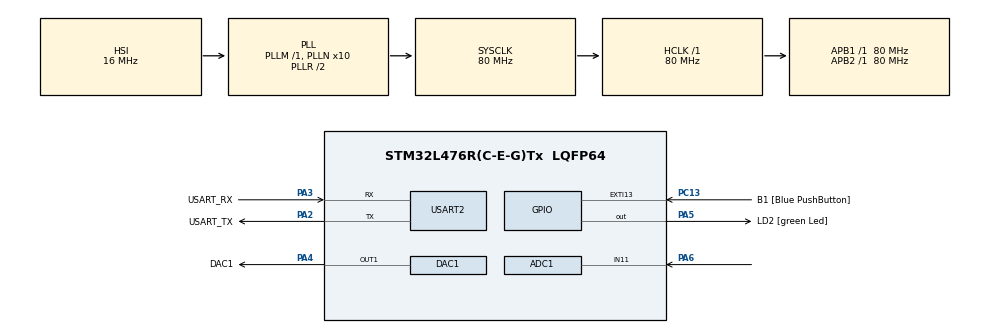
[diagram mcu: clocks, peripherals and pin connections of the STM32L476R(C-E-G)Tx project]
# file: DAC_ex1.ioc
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ADC1.Channel-2\#ChannelRegularConversion=ADC_CHANNEL_11
ADC1.ExternalTrigConv=ADC_SOFTWARE_START
ADC1.NbrOfConversionFlag=1
ADC1.OffsetNumber-2\#ChannelRegularConversion=ADC_OFFSET_NONE
ADC1.Rank-2\#ChannelRegularConversion=1
ADC1.SamplingTime-2\#ChannelRegularConversion=ADC_SAMPLETIME_92CYCLES_5
ADC1.master=1
DAC1.DAC_Trigger-DAC_OUT1=DAC_TRIGGER_SOFTWARE
Mcu.Family=STM32L4
Mcu.Name=STM32L476R(C-E-G)Tx
Mcu.Package=LQFP64
Mcu.UserConstants=TIM_PRESCALER,79;TIM_PERIOD,999
NVIC.PriorityGroup=NVIC_PRIORITYGROUP_4
NVIC.TIM6_DAC_IRQn=true\:0\:0\:false\:false\:true\:true\:true
PA13\ (JTMS-SWDIO).GPIO_Label=TMS
PA13\ (JTMS-SWDIO).Mode=Serial_Wire
PA13\ (JTMS-SWDIO).Signal=SYS_JTMS-SWDIO
PA14\ (JTCK-SWCLK).GPIO_Label=TCK
PA14\ (JTCK-SWCLK).Mode=Serial_Wire
PA14\ (JTCK-SWCLK).Signal=SYS_JTCK-SWCLK
PA2.GPIO_Label=USART_TX
PA2.GPIO_Mode=GPIO_MODE_AF_PP
PA2.GPIO_PuPd=GPIO_NOPULL
PA2.GPIO_Speed=GPIO_SPEED_FREQ_VERY_HIGH
PA2.Mode=Asynchronous
PA2.Signal=USART2_TX
PA3.GPIO_Label=USART_RX
PA3.GPIO_Mode=GPIO_MODE_AF_PP
PA3.GPIO_PuPd=GPIO_NOPULL
PA3.GPIO_Speed=GPIO_SPEED_FREQ_VERY_HIGH
PA3.Mode=Asynchronous
PA3.Signal=USART2_RX
PA4.GPIO_Label=DAC1
PA4.Signal=COMP_DAC11_group
PA5.GPIO_Label=LD2 [green Led]
PA5.GPIO_ModeDefaultOutputPP=GPIO_MODE_OUTPUT_PP
PA5.GPIO_PuPd=GPIO_NOPULL
PA5.GPIO_Speed=GPIO_SPEED_FREQ_LOW
PA5.Signal=GPIO_Output
PA6.Signal=ADCx_IN11
PB3\ (JTDO-TRACESWO).GPIO_Label=SWO
PB3\ (JTDO-TRACESWO).Signal=SYS_JTDO-SWO
PC13.GPIO_Label=B1 [Blue PushButton]
PC13.GPIO_ModeDefaultEXTI=GPIO_MODE_IT_FALLING
PC13.GPIO_PuPd=GPIO_NOPULL
PC13.Signal=GPXTI13
PC14-OSC32_IN\ (PC14).Mode=LSE-External-Oscillator
PC14-OSC32_IN\ (PC14).Signal=RCC_OSC32_IN
PC15-OSC32_OUT\ (PC15).Mode=LSE-External-Oscillator
PC15-OSC32_OUT\ (PC15).Signal=RCC_OSC32_OUT
PH0-OSC_IN\ (PH0).Signal=RCC_OSC_IN
PH1-OSC_OUT\ (PH1).Signal=RCC_OSC_OUT
ProjectManager.HeapSize=0x200
ProjectManager.StackSize=0x400
ProjectManager.TargetToolchain=STM32CubeIDE
RCC.ADCFreq_Value=64000000
RCC.AHBFreq_Value=80000000
RCC.APB1Freq_Value=80000000
RCC.APB1TimFreq_Value=80000000
RCC.APB2Freq_Value=80000000
RCC.APB2TimFreq_Value=80000000
RCC.CortexFreq_Value=80000000
RCC.HCLKFreq_Value=80000000
RCC.HSE_VALUE=8000000
RCC.HSI_VALUE=16000000
RCC.MSI_VALUE=4000000
RCC.PLLN=10
RCC.PLLSourceVirtual=RCC_PLLSOURCE_HSI
RCC.PREFETCH_ENABLE=1
RCC.SYSCLKFreq_VALUE=80000000
RCC.SYSCLKSource=RCC_SYSCLKSOURCE_PLLCLK
RCC.USBFreq_Value=64000000
RCC.VCOOutputFreq_Value=160000000
SH.ADCx_IN11.0=ADC1_IN11,IN11-Single-Ended
SH.COMP_DAC11_group.0=DAC1_OUT1,DAC_OUT1
TIM6.Period=TIM_PERIOD
TIM6.Prescaler=TIM_PRESCALER
TIM6.TIM_MasterOutputTrigger=TIM_TRGO_UPDATE
USART2.VirtualMode-Asynchronous=VM_ASYNC
VP_TIM6_VS_ClockSourceINT.Mode=Enable_Timer
board=NUCLEO-L476RG

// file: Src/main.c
/* USER CODE BEGIN Header */
/**
 ******************************************************************************
 * @file           : main.c
 * @brief          : Main program body
 ******************************************************************************
 * @attention
 *
 * <h2><center>&copy; Copyright (c) 2019 STMicroelectronics.
 * All rights reserved.</center></h2>
 *
 * This software component is licensed by ST under BSD 3-Clause license,
 * the "License"; You may not use this file except in compliance with the
 * License. You may obtain a copy of the License at:
 *                        opensource.org/licenses/BSD-3-Clause
 *
 ******************************************************************************
 */
/* USER CODE END Header */
#include "main.h"
#include "adc.h"
#include "dac.h"
#include "tim.h"
#include "usart.h"
#include "gpio.h"

void SystemClock_Config(void);

/* USER CODE BEGIN 0 */

uint8_t dac_waveform[] = { 127, 137, 147, 157, 166, 176, 185, 194, 202, 210,
		217, 224, 230, 236, 241, 245, 248, 251, 253, 254, 255, 254, 253, 251,
		248, 245, 241, 236, 230, 224, 217, 210, 202, 194, 185, 176, 166, 157,
		147, 137, 127, 117, 107, 97, 88, 78, 69, 60, 52, 44, 37, 30, 24, 18, 13,
		9, 6, 3, 1, 0, 0, 0, 1, 3, 6, 9, 13, 18, 24, 30, 37, 44, 52, 60, 69, 78,
		88, 97, 107, 117 };
volatile uint16_t measurement;
volatile uint32_t tim_ticks;
volatile uint8_t sample_index;
volatile uint8_t flag;

void HAL_TIM_PeriodElapsedCallback(TIM_HandleTypeDef *htim) {
	if (htim == &htim6) {
		if (tim_ticks % 50 == 0) {
			//send new value to DAC from waveform DAC array

			//move to next position in dac_waveform array

			//start ADC measurement

		}
		++tim_ticks;
	}
}

void HAL_ADC_ConvCpltCallback(ADC_HandleTypeDef *hadc) {
	if (hadc == &hadc1) {
		//set flag and get the measurement

	}
}

/* USER CODE END 0 */

int main(void) {

	/* MCU Configuration--------------------------------------------------------*/

	/* Reset of all peripherals, Initializes the Flash interface and the Systick. */
	HAL_Init();

	/* Configure the system clock */
	SystemClock_Config();

	/* Initialize all configured peripherals */
	MX_GPIO_Init();
	MX_ADC1_Init();
	MX_DAC1_Init();
	MX_USART2_UART_Init();
	MX_TIM6_Init();
	/* USER CODE BEGIN 2 */

	//initialize DAC output value
	//start DAC

	//start timer as clock base with 1 [ms] period

	/* USER CODE END 2 */

	/* Infinite loop */
	/* USER CODE BEGIN WHILE */
	while (1) {

		//if ADC measurement is available print it

		/* USER CODE END WHILE */

	}
}

void SystemClock_Config(void) {
	RCC_OscInitTypeDef RCC_OscInitStruct = { 0 };
	RCC_ClkInitTypeDef RCC_ClkInitStruct = { 0 };
	RCC_PeriphCLKInitTypeDef PeriphClkInit = { 0 };

	/** Initializes the RCC Oscillators according to the specified parameters
	 * in the RCC_OscInitTypeDef structure.
	 */
	RCC_OscInitStruct.OscillatorType = RCC_OSCILLATORTYPE_HSI;
	RCC_OscInitStruct.HSIState = RCC_HSI_ON;
	RCC_OscInitStruct.HSICalibrationValue = RCC_HSICALIBRATION_DEFAULT;
	RCC_OscInitStruct.PLL.PLLState = RCC_PLL_ON;
	RCC_OscInitStruct.PLL.PLLSource = RCC_PLLSOURCE_HSI;
	RCC_OscInitStruct.PLL.PLLM = 1;
	RCC_OscInitStruct.PLL.PLLN = 10;
	RCC_OscInitStruct.PLL.PLLP = RCC_PLLP_DIV7;
	RCC_OscInitStruct.PLL.PLLQ = RCC_PLLQ_DIV2;
	RCC_OscInitStruct.PLL.PLLR = RCC_PLLR_DIV2;
	if (HAL_RCC_OscConfig(&RCC_OscInitStruct) != HAL_OK) {
		Error_Handler();
	}
	/** Initializes the CPU, AHB and APB buses clocks
	 */
	RCC_ClkInitStruct.ClockType = RCC_CLOCKTYPE_HCLK | RCC_CLOCKTYPE_SYSCLK
			| RCC_CLOCKTYPE_PCLK1 | RCC_CLOCKTYPE_PCLK2;
	RCC_ClkInitStruct.SYSCLKSource = RCC_SYSCLKSOURCE_PLLCLK;
	RCC_ClkInitStruct.AHBCLKDivider = RCC_SYSCLK_DIV1;
	RCC_ClkInitStruct.APB1CLKDivider = RCC_HCLK_DIV1;
	RCC_ClkInitStruct.APB2CLKDivider = RCC_HCLK_DIV1;

	if (HAL_RCC_ClockConfig(&RCC_ClkInitStruct, FLASH_LATENCY_4) != HAL_OK) {
		Error_Handler();
	}
	PeriphClkInit.PeriphClockSelection = RCC_PERIPHCLK_USART2
			| RCC_PERIPHCLK_ADC;
	PeriphClkInit.Usart2ClockSelection = RCC_USART2CLKSOURCE_PCLK1;
	PeriphClkInit.AdcClockSelection = RCC_ADCCLKSOURCE_PLLSAI1;
	PeriphClkInit.PLLSAI1.PLLSAI1Source = RCC_PLLSOURCE_HSI;
	PeriphClkInit.PLLSAI1.PLLSAI1M = 1;
	PeriphClkInit.PLLSAI1.PLLSAI1N = 8;
	PeriphClkInit.PLLSAI1.PLLSAI1P = RCC_PLLP_DIV7;
	PeriphClkInit.PLLSAI1.PLLSAI1Q = RCC_PLLQ_DIV2;
	PeriphClkInit.PLLSAI1.PLLSAI1R = RCC_PLLR_DIV2;
	PeriphClkInit.PLLSAI1.PLLSAI1ClockOut = RCC_PLLSAI1_ADC1CLK;
	if (HAL_RCCEx_PeriphCLKConfig(&PeriphClkInit) != HAL_OK) {
		Error_Handler();
	}
	/** Configure the main internal regulator output voltage
	 */
	if (HAL_PWREx_ControlVoltageScaling(PWR_REGULATOR_VOLTAGE_SCALE1)
			!= HAL_OK) {
		Error_Handler();
	}
}

void Error_Handler(void) {
}

/************************ (C) COPYRIGHT STMicroelectronics *****END OF FILE****/
